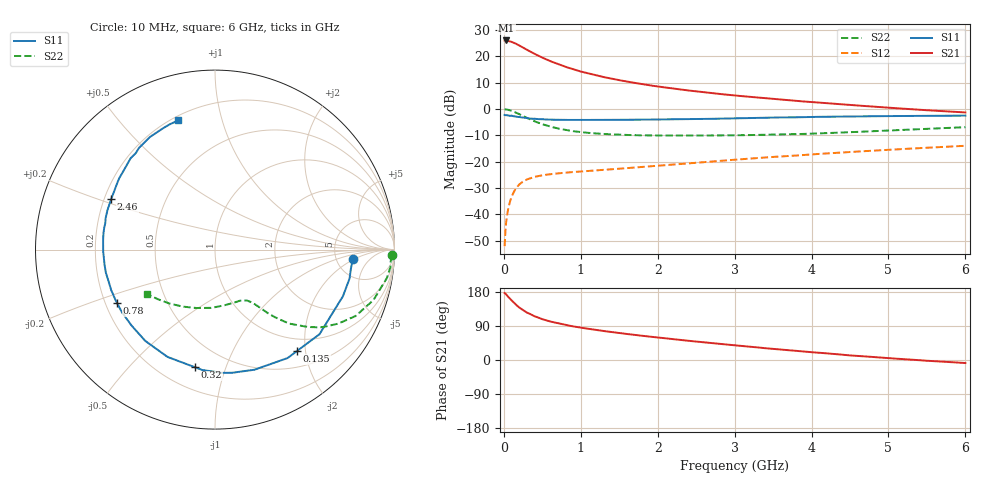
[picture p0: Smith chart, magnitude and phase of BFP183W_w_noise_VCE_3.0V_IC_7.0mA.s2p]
! Infineon Technologies  Discrete & RF Semiconductors
! BFP183W
! VCE = 3.0 V,  IC =  7.0 mA
! Common Emitter S-Parameters:  Jan 2016
# GHz  S  MA  R  50
!  f  S11  S21  S12  S22
! GHz  MAG  ANG  MAG  ANG  MAG  ANG  MAG  ANG
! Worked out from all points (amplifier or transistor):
!   210 points, 10 MHz to 6 GHz, reference 50 ohm
!   highest |S21| = 26.0 dB at 30 MHz (marker M1)
!   |S21| within 3 dB of that: start of sweep to 268 MHz
!   unconditionally stable (mu >= 1): 1.554 GHz to 5.544 GHz
!   at 185 MHz: K = 0.18, MSG = 26.7 dB, |S12| = -29.1 dB
!   at 1.52 GHz: K = 0.99, MSG = 16.7 dB, |S12| = -22.6 dB
!   at 6 GHz: K = 0.96, MSG = 6.3 dB, |S12| = -14.0 dB
!   lowest NFmin = 1.25 dB at 450 MHz
!   S11 on the Smith chart (normalised r, x): 10 MHz: 7.19, -1.90; 135 MHz: 0.77, -1.84; 320 MHz: 0.34, -0.79; 780 MHz: 0.25, -0.24; 2.46 GHz: 0.23, +0.22; 6 GHz: 0.22, +0.73
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0.01  0.7702 -4.0  19.9 176.8  0.0025 92.1  0.9882 -1.9
0.03  0.7669 -12.1  19.96 173.1  0.0071 85.7  0.9823 -5.6
0.05  0.7587 -20.0  19.72 168.2  0.0113 79.9  0.9711 -9.3
0.1  0.7491 -39.0  18.79 157.4  0.0216 70.8  0.9265 -17.7
0.135  0.7267 -51.0  17.85 150.3  0.0276 64.8  0.8828 -22.9
0.15  0.7271 -56.2  17.54 147.1  0.0302 63.0  0.8664 -25.3
0.2  0.7045 -71.8  16.04 138.5  0.037 56.7  0.7994 -31.1
0.26  0.6876 -86.9  14.36 130.3  0.043 50.2  0.7241 -36.8
0.3  0.6744 -96.1  13.28 125.1  0.0461 47.5  0.6768 -39.6
0.32  0.6652 -99.5  12.81 123.4  0.0472 46.1  0.6576 -40.6
0.4  0.6538 -113.9  11.09 115.3  0.0517 41.3  0.5827 -45.0
0.5  0.6401 -127.4  9.413 107.7  0.0554 37.9  0.514 -48.0
0.6  0.6286 -137.7  8.111 101.7  0.0579 35.8  0.4649 -50.1
0.78  0.6218 -151.3  6.48 93.5  0.0615 34.2  0.4062 -52.4
1.02  0.6188 -164.3  5.054 84.8  0.0655 34.1  0.3621 -54.9
1.46  0.6232 179.2  3.613 72.3  0.0729 36.2  0.3276 -59.8
2.02  0.6342 163.7  2.65 59.0  0.0843 39.5  0.3146 -67.6
2.46  0.6431 154.1  2.194 49.5  0.0945 41.1  0.3134 -75.2
3.1  0.6682 141.4  1.751 37.0  0.1118 42.1  0.3185 -87.5
4.1  0.7103 125.3  1.322 19.1  0.1407 40.8  0.3446 -109.9
5.1  0.735 113.4  1.035 3.5  0.1714 37.4  0.3971 -131.8
6  0.7487 105.8  0.86 -8.0  0.2006 33.5  0.4521 -146.8
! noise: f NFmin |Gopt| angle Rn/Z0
0.45  1.25  0.18  42  0.22
0.9  1.3  0.22  110  0.2
1.8  2  0.33  180  0.14
